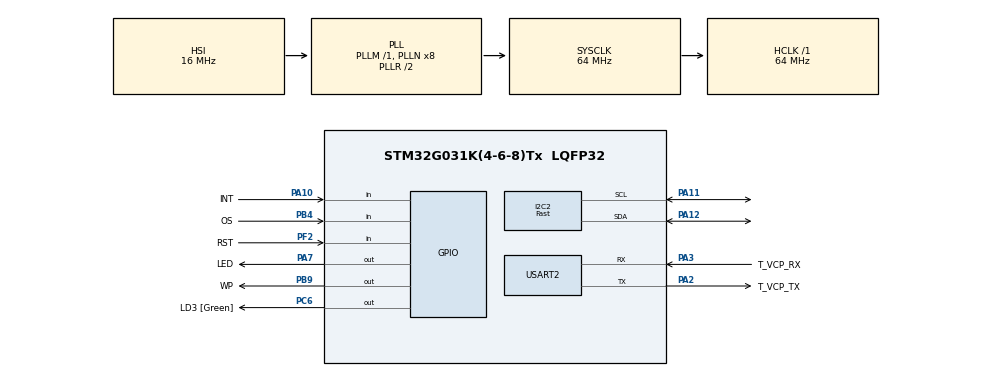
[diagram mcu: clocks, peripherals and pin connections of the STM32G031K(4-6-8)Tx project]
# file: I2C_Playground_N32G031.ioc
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I2C2.I2C_Speed_Mode=I2C_Fast
I2C2.Timing=0x00C12166
Mcu.Family=STM32G0
Mcu.Name=STM32G031K(4-6-8)Tx
Mcu.Package=LQFP32
NVIC.TIM17_IRQn=true\:0\:0\:false\:false\:true\:true\:true\:true
PA10.GPIO_Label=INT
PA10.GPIO_PuPd=GPIO_PULLUP
PA10.Signal=GPIO_Input
PA11\ [PA9].Mode=I2C
PA11\ [PA9].Signal=I2C2_SCL
PA12\ [PA10].Mode=I2C
PA12\ [PA10].Signal=I2C2_SDA
PA13.GPIO_Label=T_JTMS
PA13.Mode=Serial_Wire
PA13.Signal=SYS_SWDIO
PA14-BOOT0.GPIO_Label=T_JTCK
PA14-BOOT0.Mode=Serial_Wire
PA14-BOOT0.Signal=SYS_SWCLK
PA2.GPIO_Label=T_VCP_TX
PA2.GPIO_PuPd=GPIO_PULLUP
PA2.Mode=Asynchronous
PA2.Signal=USART2_TX
PA3.GPIO_Label=T_VCP_RX
PA3.GPIO_PuPd=GPIO_PULLUP
PA3.Mode=Asynchronous
PA3.Signal=USART2_RX
PA7.GPIO_Label=LED
PA7.Signal=GPIO_Output
PB4.GPIO_Label=OS
PB4.Signal=GPIO_Input
PB9.GPIO_Label=WP
PB9.Signal=GPIO_Output
PC14-OSC32_IN\ (PC14).Mode=LSE-External-Oscillator
PC14-OSC32_IN\ (PC14).Signal=RCC_OSC32_IN
PC15-OSC32_OUT\ (PC15).Mode=LSE-External-Oscillator
PC15-OSC32_OUT\ (PC15).Signal=RCC_OSC32_OUT
PC6.GPIO_Label=LD3 [Green]
PC6.Signal=GPIO_Output
PF2\ -\ NRST.GPIO_Label=RST
PF2\ -\ NRST.GPIO_PuPd=GPIO_PULLUP
PF2\ -\ NRST.Signal=GPIO_Input
ProjectManager.HeapSize=0x200
ProjectManager.StackSize=0x400
ProjectManager.TargetToolchain=STM32CubeIDE
RCC.ADCFreq_Value=64000000
RCC.AHBFreq_Value=64000000
RCC.CortexFreq_Value=64000000
RCC.EXTERNAL_CLOCK_VALUE=12288000
RCC.HCLKFreq_Value=64000000
RCC.HSE_VALUE=8000000
RCC.HSI_VALUE=16000000
RCC.SYSCLKFreq_VALUE=64000000
RCC.SYSCLKSource=RCC_SYSCLKSOURCE_PLLCLK
RCC.VCOOutputFreq_Value=128000000
TIM17.Period=6400-1
TIM17.Prescaler=100-1
USART2.VirtualMode-Asynchronous=VM_ASYNC
USART2.WordLength=WORDLENGTH_8B
VP_TIM17_VS_ClockSourceINT.Mode=Enable_Timer
board=NUCLEO-G031K8

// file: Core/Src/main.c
/* USER CODE BEGIN Header */
/**
 ******************************************************************************
 * @file           : main.c
 * @brief          : Main program body
 ******************************************************************************
 * @attention
 *
 * Copyright (c) 2023 STMicroelectronics.
 * All rights reserved.
 *
 * This software is licensed under terms that can be found in the LICENSE file
 * in the root directory of this software component.
 * If no LICENSE file comes with this software, it is provided AS-IS.
 *
 ******************************************************************************
 */
/* USER CODE END Header */
#include "main.h"

/* USER CODE BEGIN Includes */
#include "debug_print.h"
#include "lm75.h"
#include "tca9534.h"
#include "mcp3021.h"
#include "mcp4716.h"
#include "eeprom.h"

/* USER CODE END Includes */

/* USER CODE BEGIN PM */
#define EEPROM_INIT_BYTE			0xA0

/* USER CODE END PM */

I2C_HandleTypeDef hi2c2;

TIM_HandleTypeDef htim17;

UART_HandleTypeDef huart2;

/* USER CODE BEGIN PV */
volatile uint8_t clk_tick_10ms = 0;

/* USER CODE END PV */

void SystemClock_Config(void);
static void MX_GPIO_Init(void);
static void MX_USART2_UART_Init(void);
static void MX_I2C2_Init(void);
static void MX_TIM17_Init(void);

/* USER CODE BEGIN 0 */

// 10ms Tick
void HAL_TIM_PeriodElapsedCallback(TIM_HandleTypeDef *htim)
{
	if (htim->Instance == htim17.Instance)
	{
		clk_tick_10ms = 0;
	}
}

/* USER CODE END 0 */

int main(void)
{

	/* USER CODE BEGIN 1 */
	uint8_t address;
	uint8_t error;
	uint8_t led_p0 = 0;
	uint8_t led_p1 = 0;
	uint8_t led_p2 = 0;
	uint8_t led_p3 = 0;

	uint8_t lm75_ready = 0;
	uint8_t mcp3021_ready = 0;
	uint8_t mcp4716_ready = 0;
	uint8_t tca9534_ready = 0;

	uint16_t eeprom_cycles = 0 ;

	float temperature;

	uint16_t adc_value;
	int16_t temperature_dec;

	uint64_t tick_counter = 0;
	/* USER CODE END 1 */

	/* MCU Configuration--------------------------------------------------------*/

	/* Reset of all peripherals, Initializes the Flash interface and the Systick. */
	HAL_Init();

	/* Configure the system clock */
	SystemClock_Config();

	/* Initialize all configured peripherals */
	MX_GPIO_Init();
	MX_USART2_UART_Init();
	MX_I2C2_Init();
	MX_TIM17_Init();
	/* USER CODE BEGIN 2 */

	//Delay
	HAL_Delay(100);

	//vt52 Cursor home
	debug_print("\e[H");

	//vt52 Clear Screen
	debug_print("\e[J");

	//vt52 Turn OFF cursor
	debug_print("\x1b[?25l");

	debug_print("K23003 I2C Playground\n\r");

	for (address = 0; address < 127; address++)
	{
		if (HAL_I2C_IsDeviceReady(&hi2c2, (uint16_t) (address << 1), 3, 100) == HAL_OK)
		{
			debug_print("\n\rI2C Address found: 0x%X", address);
		}
	}

	debug_print("\e[11;0H");
	debug_print("LM75 Temperature °C: ");
	debug_print("\e[12;0H");
	debug_print("ADC Value (Counts) : ");
	debug_print("\e[13;0H");
	debug_print("EEPROM Boot Cycles : ");
	debug_print("\e[15;0H");
	debug_print("Content from the EEPROM in the socket:");

	if (LM75_Init(LM75_ADDR_0) == SUCCESS)
	{
		lm75_ready = 1;
	}

	if (TCA9534_Init(TCA9534A_ADDR_0, 0b11110000) == SUCCESS)
	{
		tca9534_ready = 1;
	}

	if (MCP4716_Init(MCP4716_ADDR_0) == SUCCESS)
	{
		mcp4716_ready = 1;
	}

	if (MCP3021_Init(MCP3021_ADDR) == SUCCESS)
	{
		mcp3021_ready = 1;
	}

	if (M24C0X_Init(M24C02_ADDR_0) == SUCCESS)
	{
		if (M24C0X_Read_Byte(M24C02_ADDR_0, 0x00) != EEPROM_INIT_BYTE)
		{
			for (uint8_t i = 1; i < 0xFF; i++)
			{
				M24C0X_Write_Byte(M24C02_ADDR_0, i, 0x00);
				HAL_Delay(10);
			}
			M24C0X_Write_Byte(M24C02_ADDR_0, 0, EEPROM_INIT_BYTE);
		}
		eeprom_cycles = M24C0X_Read_Word(M24C02_ADDR_0, 0x01);
		eeprom_cycles++;
		HAL_Delay(10);
		M24C0X_Write_Word(M24C02_ADDR_0, 0x01, eeprom_cycles);
		debug_print("\e[13;22H");
		debug_print("%d   ", eeprom_cycles);
	}

	if (M24C0X_Init(M24C02_ADDR_1) == SUCCESS)
	{
		uint8_t byte_tmp;
		uint8_t offset = 0;
		uint8_t address = 0;

		debug_print("\e[16;0H");

		for(uint8_t x = 0; x < 32; x++)
		{
			for(uint8_t y = 0; y < 8; y++)
			{
				address = offset + y;
				byte_tmp = M24C0X_Read_Byte(M24C02_ADDR_1, address);
				debug_print("0x%X ", byte_tmp);
			}
			debug_print("\n\r");
			offset++;
		}
	}
	else
	{
		debug_print("\e[16;0H");
		debug_print("EEPROM not found");
	}

	HAL_TIM_Base_Start_IT(&htim17);

	/* USER CODE END 2 */

	/* Infinite loop */
	while (1)
	{

		/* USER CODE BEGIN 3 */
		// Stay here until the clk_tick_10ms flag has been set to 0
		while (clk_tick_10ms);
		clk_tick_10ms = 1;

		// Increment tick counter
		tick_counter++;

		// Poll reset pushbutton
		if (HAL_GPIO_ReadPin(RST_GPIO_Port, RST_Pin) == 0)
		{
			HAL_Delay(100);
			NVIC_SystemReset();
		}

		// Readout and print temperature
		if (lm75_ready)
		{
			temperature = LM75_Poll_Temperature(LM75_ADDR_0);
			temperature_dec = temperature;
			debug_print("\e[11;22H");
			debug_print("%d  ", temperature_dec);
		}

		// Readout ADC
		if (mcp3021_ready)
		{
			adc_value = MCP3021_Read_ADC_Counts(MCP3021_ADDR);
			debug_print("\e[12;22H");
			debug_print("%d   ", adc_value);
		}

		// IO Expander
		if (tca9534_ready)
		{
			if (Read_INT() == 0)
			{
				if (Read_PB_P4() == 0)
				{
					led_p0 = !led_p0;

					Write_LED(led_p0, 0);
				}
				if (Read_PB_P5() == 0)
				{
					led_p1 = !led_p1;
					Write_LED(led_p1, 1);
				}
				if (Read_PB_P6() == 0)
				{
					led_p2 = !led_p2;
					Write_LED(led_p2, 2);
				}
				if (Read_PB_P7() == 0)
				{
					led_p3 = !led_p3;
					Write_LED(led_p3, 3);
				}
			}
		}

		// Set DAC to the ADC value
		if (mcp4716_ready)
		{
			MCP4716_Write_DAC(MCP4716_ADDR_0, adc_value);
		}

		// Toggle PA2 LED every 100ms
		if ((tick_counter % 10) == 0)
		{
			HAL_GPIO_TogglePin(LED_GPIO_Port, LED_Pin);
		}
	}
	/* USER CODE END 3 */
}

void SystemClock_Config(void)
{
	RCC_OscInitTypeDef RCC_OscInitStruct =
	{ 0 };
	RCC_ClkInitTypeDef RCC_ClkInitStruct =
	{ 0 };

	/** Configure the main internal regulator output voltage
	 */
	HAL_PWREx_ControlVoltageScaling(PWR_REGULATOR_VOLTAGE_SCALE1);

	/** Initializes the RCC Oscillators according to the specified parameters
	 * in the RCC_OscInitTypeDef structure.
	 */
	RCC_OscInitStruct.OscillatorType = RCC_OSCILLATORTYPE_HSI;
	RCC_OscInitStruct.HSIState = RCC_HSI_ON;
	RCC_OscInitStruct.HSIDiv = RCC_HSI_DIV1;
	RCC_OscInitStruct.HSICalibrationValue = RCC_HSICALIBRATION_DEFAULT;
	RCC_OscInitStruct.PLL.PLLState = RCC_PLL_ON;
	RCC_OscInitStruct.PLL.PLLSource = RCC_PLLSOURCE_HSI;
	RCC_OscInitStruct.PLL.PLLM = RCC_PLLM_DIV1;
	RCC_OscInitStruct.PLL.PLLN = 8;
	RCC_OscInitStruct.PLL.PLLP = RCC_PLLP_DIV2;
	RCC_OscInitStruct.PLL.PLLQ = RCC_PLLQ_DIV2;
	RCC_OscInitStruct.PLL.PLLR = RCC_PLLR_DIV2;
	if (HAL_RCC_OscConfig(&RCC_OscInitStruct) != HAL_OK)
	{
		Error_Handler();
	}

	/** Initializes the CPU, AHB and APB buses clocks
	 */
	RCC_ClkInitStruct.ClockType = RCC_CLOCKTYPE_HCLK | RCC_CLOCKTYPE_SYSCLK | RCC_CLOCKTYPE_PCLK1;
	RCC_ClkInitStruct.SYSCLKSource = RCC_SYSCLKSOURCE_PLLCLK;
	RCC_ClkInitStruct.AHBCLKDivider = RCC_SYSCLK_DIV1;
	RCC_ClkInitStruct.APB1CLKDivider = RCC_HCLK_DIV1;

	if (HAL_RCC_ClockConfig(&RCC_ClkInitStruct, FLASH_LATENCY_2) != HAL_OK)
	{
		Error_Handler();
	}
}

static void MX_I2C2_Init(void)
{

	hi2c2.Instance = I2C2;
	hi2c2.Init.Timing = 0x00C12166;
	hi2c2.Init.OwnAddress1 = 0;
	hi2c2.Init.AddressingMode = I2C_ADDRESSINGMODE_7BIT;
	hi2c2.Init.DualAddressMode = I2C_DUALADDRESS_DISABLE;
	hi2c2.Init.OwnAddress2 = 0;
	hi2c2.Init.OwnAddress2Masks = I2C_OA2_NOMASK;
	hi2c2.Init.GeneralCallMode = I2C_GENERALCALL_DISABLE;
	hi2c2.Init.NoStretchMode = I2C_NOSTRETCH_DISABLE;
	if (HAL_I2C_Init(&hi2c2) != HAL_OK)
	{
		Error_Handler();
	}

	/** Configure Analogue filter
	 */
	if (HAL_I2CEx_ConfigAnalogFilter(&hi2c2, I2C_ANALOGFILTER_ENABLE) != HAL_OK)
	{
		Error_Handler();
	}

	/** Configure Digital filter
	 */
	if (HAL_I2CEx_ConfigDigitalFilter(&hi2c2, 0) != HAL_OK)
	{
		Error_Handler();
	}

}

static void MX_TIM17_Init(void)
{

	htim17.Instance = TIM17;
	htim17.Init.Prescaler = 100 - 1;
	htim17.Init.CounterMode = TIM_COUNTERMODE_UP;
	htim17.Init.Period = 6400 - 1;
	htim17.Init.ClockDivision = TIM_CLOCKDIVISION_DIV1;
	htim17.Init.RepetitionCounter = 0;
	htim17.Init.AutoReloadPreload = TIM_AUTORELOAD_PRELOAD_DISABLE;
	if (HAL_TIM_Base_Init(&htim17) != HAL_OK)
	{
		Error_Handler();
	}

}

static void MX_USART2_UART_Init(void)
{

	huart2.Instance = USART2;
	huart2.Init.BaudRate = 115200;
	huart2.Init.WordLength = UART_WORDLENGTH_8B;
	huart2.Init.StopBits = UART_STOPBITS_1;
	huart2.Init.Parity = UART_PARITY_NONE;
	huart2.Init.Mode = UART_MODE_TX_RX;
	huart2.Init.HwFlowCtl = UART_HWCONTROL_NONE;
	huart2.Init.OverSampling = UART_OVERSAMPLING_16;
	huart2.Init.OneBitSampling = UART_ONE_BIT_SAMPLE_DISABLE;
	huart2.Init.ClockPrescaler = UART_PRESCALER_DIV1;
	huart2.AdvancedInit.AdvFeatureInit = UART_ADVFEATURE_NO_INIT;
	if (HAL_UART_Init(&huart2) != HAL_OK)
	{
		Error_Handler();
	}

}

static void MX_GPIO_Init(void)
{
	GPIO_InitTypeDef GPIO_InitStruct =
	{ 0 };

	/* GPIO Ports Clock Enable */
	__HAL_RCC_GPIOB_CLK_ENABLE();
	__HAL_RCC_GPIOC_CLK_ENABLE();
	__HAL_RCC_GPIOF_CLK_ENABLE();
	__HAL_RCC_GPIOA_CLK_ENABLE();

	/*Configure GPIO pin Output Level */
	HAL_GPIO_WritePin(WP_GPIO_Port, WP_Pin, GPIO_PIN_RESET);

	/*Configure GPIO pin Output Level */
	HAL_GPIO_WritePin(LED_GPIO_Port, LED_Pin, GPIO_PIN_RESET);

	/*Configure GPIO pin Output Level */
	HAL_GPIO_WritePin(LD3_GPIO_Port, LD3_Pin, GPIO_PIN_RESET);

	/*Configure GPIO pin : WP_Pin */
	GPIO_InitStruct.Pin = WP_Pin;
	GPIO_InitStruct.Mode = GPIO_MODE_OUTPUT_PP;
	GPIO_InitStruct.Pull = GPIO_NOPULL;
	GPIO_InitStruct.Speed = GPIO_SPEED_FREQ_LOW;
	HAL_GPIO_Init(WP_GPIO_Port, &GPIO_InitStruct);

	/*Configure GPIO pin : RST_Pin */
	GPIO_InitStruct.Pin = RST_Pin;
	GPIO_InitStruct.Mode = GPIO_MODE_INPUT;
	GPIO_InitStruct.Pull = GPIO_PULLUP;
	HAL_GPIO_Init(RST_GPIO_Port, &GPIO_InitStruct);

	/*Configure GPIO pin : LED_Pin */
	GPIO_InitStruct.Pin = LED_Pin;
	GPIO_InitStruct.Mode = GPIO_MODE_OUTPUT_PP;
	GPIO_InitStruct.Pull = GPIO_NOPULL;
	GPIO_InitStruct.Speed = GPIO_SPEED_FREQ_LOW;
	HAL_GPIO_Init(LED_GPIO_Port, &GPIO_InitStruct);

	/*Configure GPIO pin : LD3_Pin */
	GPIO_InitStruct.Pin = LD3_Pin;
	GPIO_InitStruct.Mode = GPIO_MODE_OUTPUT_PP;
	GPIO_InitStruct.Pull = GPIO_NOPULL;
	GPIO_InitStruct.Speed = GPIO_SPEED_FREQ_LOW;
	HAL_GPIO_Init(LD3_GPIO_Port, &GPIO_InitStruct);

	/*Configure GPIO pin : INT_Pin */
	GPIO_InitStruct.Pin = INT_Pin;
	GPIO_InitStruct.Mode = GPIO_MODE_INPUT;
	GPIO_InitStruct.Pull = GPIO_PULLUP;
	HAL_GPIO_Init(INT_GPIO_Port, &GPIO_InitStruct);

	/*Configure GPIO pin : OS_Pin */
	GPIO_InitStruct.Pin = OS_Pin;
	GPIO_InitStruct.Mode = GPIO_MODE_INPUT;
	GPIO_InitStruct.Pull = GPIO_NOPULL;
	HAL_GPIO_Init(OS_GPIO_Port, &GPIO_InitStruct);

}

void Error_Handler(void)
{
	__disable_irq();
	while (1)
	{
	}
}
